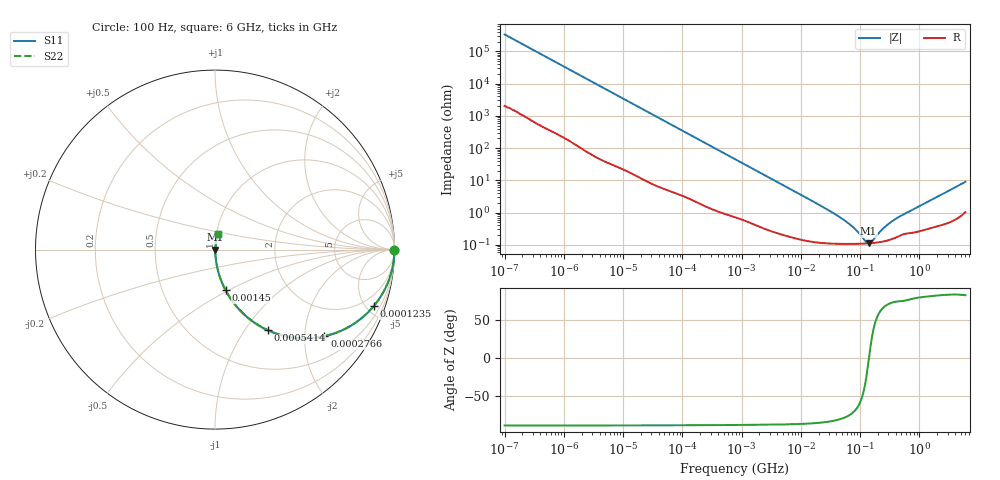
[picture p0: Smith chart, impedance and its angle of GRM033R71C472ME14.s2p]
!Murata Part Number: GRM033R71C472ME14
!These Parameters are Measured in Series Mode Connection
!Data Generated on Mar 30, 2021
!  o--ll--o
!Port1  Port2
!  o------o
!Operation Temp=25[degC], DC Bias Voltage=0[V]
!Freq. Start=100[Hz] Stop=6[GHz] 401[Steps]
# Hz S RI R 50
!Freq.(Hz) S11(Real) S11(Imag) S21(Real) S21(Imag) S12(Real) S12(Imag) S22(Real) S22(Imag)
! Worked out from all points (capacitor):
!   401 points, 100 Hz to 6 GHz, reference 50 ohm
!   read as one part in series: C = 4.75 nF near 109 Hz
!   lowest |Z| = 111 mohm at 139.6 MHz (marker M1)
!   series resonance near 141.5 MHz, so ESL is about 270 pH
!   S11 on the Smith chart (normalised r, x): 100 Hz: open; 123.5 kHz: 1.06, -5.58; 276.6 kHz: 1.03, -2.50; 541.4 kHz: 1.02, -1.28; 1.45 MHz: 1.01, -0.48; 6 GHz: 1.02, +0.18
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100  1 -0.000299  1.9e-06 0.000299  1.9e-06 0.000299  1 -0.000299
2008  0.9999 -0.00593  6.86e-05 0.00593  6.86e-05 0.00593  0.9999 -0.00593
12592  0.9984 -0.0369  0.0016 0.0369  0.0016 0.0369  0.9984 -0.0369
40335  0.9855 -0.116  0.0145 0.116  0.0145 0.116  0.9855 -0.116
123542  0.8836 -0.3157  0.1164 0.3157  0.1164 0.3157  0.8836 -0.3157
184852  0.775 -0.4123  0.225 0.4123  0.225 0.4123  0.775 -0.4123
276587  0.6093 -0.4823  0.3907 0.4823  0.3907 0.4823  0.6093 -0.4823
378399  0.4572 -0.4921  0.5428 0.4921  0.5428 0.4921  0.4572 -0.4921
541393  0.2946 -0.449  0.7054 0.449  0.7054 0.449  0.2946 -0.449
774597  0.1725 -0.3699  0.8275 0.3699  0.8275 0.3699  0.1725 -0.3699
1449809  0.0593 -0.2268  0.9407 0.2268  0.9407 0.2268  0.0593 -0.2268
3882480  0.0105 -0.0901  0.9895 0.0901  0.9895 0.0901  0.0105 -0.0901
1.555665e7  0.00175 -0.0227  0.9983 0.0227  0.9983 0.0227  0.00175 -0.0227
5.960426e7  0.00109 -0.00496  0.9989 0.00496  0.9989 0.00496  0.00109 -0.00496
8.527865e7  0.00107 -0.00268  0.9989 0.00268  0.9989 0.00268  0.00107 -0.00268
1.220122e8  0.00109 -0.000753  0.9989 0.000753  0.9989 0.000753  0.00109 -0.000753
1.395531e8  0.00111 -6.8e-05  0.9989 6.8e-05  0.9989 6.8e-05  0.00111 -6.8e-05
1.596157e8  0.00113 0.000615  0.9989 -0.000615  0.9989 -0.000615  0.00113 0.000615
2.283698e8  0.00123 0.00252  0.9988 -0.00252  0.9988 -0.00252  0.00123 0.00252
3.124326e8  0.00142 0.00441  0.9986 -0.00441  0.9986 -0.00441  0.00142 0.00441
4.888888e8  0.00204 0.00765  0.998 -0.00765  0.998 -0.00765  0.00204 0.00765
6e9  0.0178 0.0867  0.9822 -0.0867  0.9822 -0.0867  0.0178 0.0867
